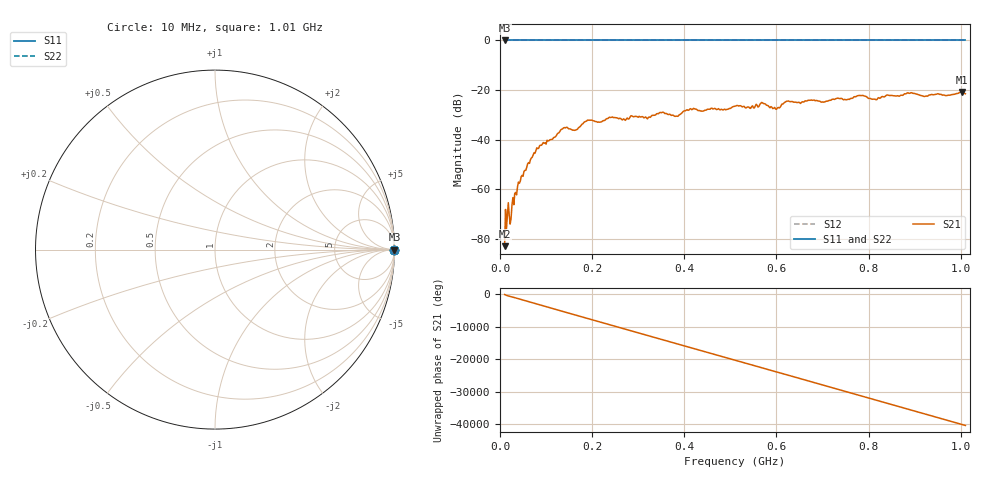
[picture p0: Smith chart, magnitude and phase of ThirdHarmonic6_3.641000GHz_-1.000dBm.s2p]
! 8/17/2025 12:14:11 PM
! C:\ANRITSUVNA\TEMP\TEMP.S2P
! CHANNEL.1
! TR.MEASUREMENT
! RAW.DATA
! RF.CORRECTION.OFF
! AVERAGING.OFF
! IF.BANDWIDTH: 5KHZ
! SWEEPTYPE:  FREQ.SWEEP(Linear)
! Reference Plane Port Info
! PORT:  PORT1  PORT2
! DISTANCE:  0  m  0  m
! TIME:  0  s  0  s
! PHASE.OFFSET:  0  deg.  0  deg.
! LOSS:  0  dB  0  dB
! REF.LOSS:  0  dB  0  dB
! REF.FREQ:  0  Hz  0  Hz
! Power Info
! POWER:  -20  dBm  -20  dBm
! EFF.POWER:  -20  dBm  -20  dBm
! SOURCE.ATTEN:  0  dB  0  dB
! TEST.ATTEN:  0  dB  0  dB
# GHZ S RI R 50.0
! FREQ.GHZ  S11RE  S11IM  S21RE  S21IM  S12RE  S12IM  S22RE  S22IM
!; PortSelection: Port_12
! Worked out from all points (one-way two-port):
!   501 points, 10 MHz to 1.01 GHz, reference 50 ohm
!   highest |S21| = -20.79 dB at 1.002 GHz (marker M1); lowest = -82.9 dB at 10 MHz (marker M2)
!   lowest |S11| = 0.0 dB at 10 MHz (marker M3)
!   |S11| at or under -10 dB: nowhere
!   |S22| runs from 0.0 to 0.0 dB; largest |S21 - S12| = 1.1
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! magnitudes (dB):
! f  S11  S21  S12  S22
! 10 MHz  0.0  -82.9  0.0  0.0
! 16 MHz  0.0  -70.4  0.0  0.0
! 18 MHz  0.0  -65.4  0.0  0.0
! 26 MHz  0.0  -66.3  0.0  0.0
! 30 MHz  0.0  -66.2  0.0  0.0
! 42 MHz  0.0  -57.6  0.0  0.0
! 76 MHz  0.0  -45.4  0.0  0.0
! 136 MHz  0.0  -35.6  0.0  0.0
! 164 MHz  0.0  -36.1  0.0  0.0
! 178 MHz  0.0  -33.8  0.0  0.0
! 194 MHz  0.0  -32.1  0.0  0.0
! 344 MHz  0.0  -29.5  0.0  0.0
! 382 MHz  0.0  -30.5  0.0  0.0
! 416 MHz  0.0  -27.9  0.0  0.0
! 510 MHz  0.0  -26.5  0.0  0.0
! 570 MHz  0.0  -25.2  0.0  0.0
! 602 MHz  0.0  -27.2  0.0  0.0
! 622 MHz  0.0  -24.5  0.0  0.0
! 678 MHz  0.0  -24.1  0.0  0.0
! 844 MHz  0.0  -22.2  0.0  0.0
! 1.002 GHz  0.0  -20.8  0.0  0.0
! 1.01 GHz  0.0  -21.5  0.0  0.0
